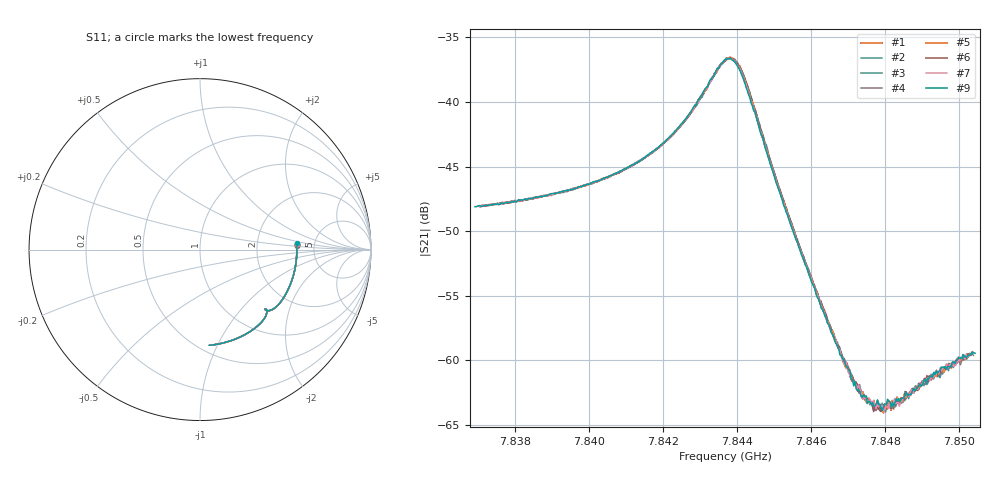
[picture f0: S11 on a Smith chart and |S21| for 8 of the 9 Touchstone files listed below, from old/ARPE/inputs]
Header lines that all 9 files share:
#  HZ  S  RI  R  50.00
! Rohde & Schwarz Vector Network Analyzer
! Rohde-Schwarz,ZNB20-2Port,1311601062101988,3.16
! freq[Hz]  re:S11  im:S11  re:S21  im:S21  re:S12  im:S12  re:S22  im:S22
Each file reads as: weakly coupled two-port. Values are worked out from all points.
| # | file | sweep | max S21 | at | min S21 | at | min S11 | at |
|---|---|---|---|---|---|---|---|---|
| 1 | 94_2_48.099_50.0688477_55842.836_.s2p | 7.83706 GHz to 7.85035 GHz | -36.53 dB | 7.84381 GHz | -64.0 dB | 7.84793 GHz | -5.8 dB | 7.84397 GHz |
| 2 | 95_2_48.1001_50.0684662_56455.063_.s2p | 7.83719 GHz to 7.85023 GHz | -36.57 dB | 7.84378 GHz | -64.0 dB | 7.84802 GHz | -5.8 dB | 7.84397 GHz |
| 3 | 100_2_48.1_50.0641823_59283.859_.s2p | 7.83703 GHz to 7.85038 GHz | -36.56 dB | 7.84384 GHz | -63.9 dB | 7.84788 GHz | -5.7 dB | 7.84394 GHz |
| 4 | 101_2_48.1032_50.0630417_59896.641_.s2p | 7.83711 GHz to 7.85029 GHz | -36.58 dB | 7.84383 GHz | -63.9 dB | 7.84772 GHz | -5.7 dB | 7.84393 GHz |
| 5 | 102_2_48.0979_50.0619774_60448.086_.s2p | 7.83709 GHz to 7.85031 GHz | -36.56 dB | 7.84376 GHz | -64.1 dB | 7.84796 GHz | -5.7 dB | 7.84396 GHz |
| 6 | 106_2_48.0993_50.0581932_62996.77_.s2p | 7.83714 GHz to 7.85025 GHz | -36.60 dB | 7.84382 GHz | -64.0 dB | 7.84769 GHz | -5.7 dB | 7.84395 GHz |
| 7 | 108_2_48.1021_50.0569801_64151.688_.s2p | 7.83702 GHz to 7.85035 GHz | -36.64 dB | 7.84378 GHz | -63.8 dB | 7.84799 GHz | -5.7 dB | 7.84395 GHz |
| 8 | 110_2_48.1026_50.0566406_65300.148_.s2p | 7.83709 GHz to 7.85028 GHz | -36.61 dB | 7.84385 GHz | -63.9 dB | 7.84777 GHz | -5.7 dB | 7.84395 GHz |
| 9 | 112_2_48.0967_50.0547447_66469.117_.s2p | 7.83693 GHz to 7.85043 GHz | -36.63 dB | 7.84381 GHz | -63.9 dB | 7.84793 GHz | -5.7 dB | 7.84395 GHz |
